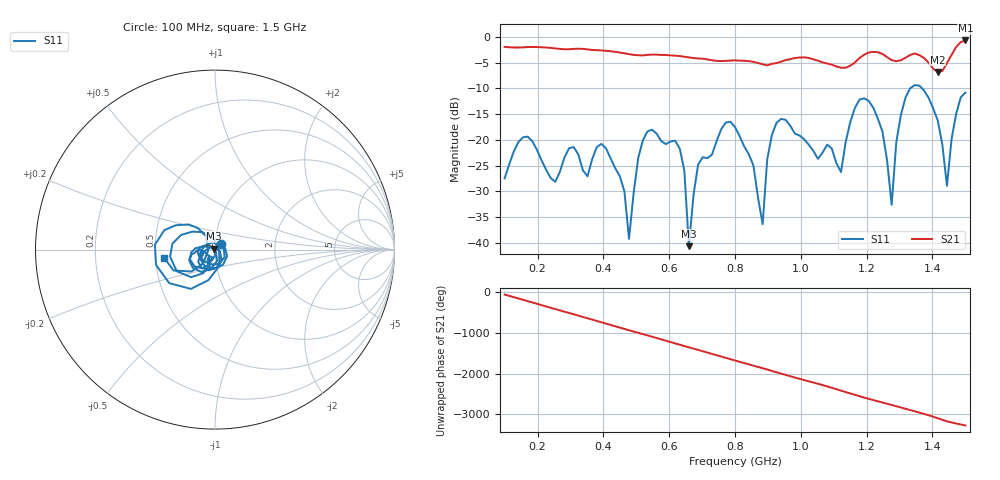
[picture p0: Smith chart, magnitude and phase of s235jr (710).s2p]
! NanoVNA-App
! Date: 2025-09-25 15:09:42
! Start: 100MHz Stop: 1,5GHz Points: 101
! S-Parameter data: F S11 S21 S12 S22
# Hz S RI R 50
!  Frequency  S11_Real  S11_Imag  S21_Real  S21_Imag  S12_Real  S12_Imag  S22_Real  S22_Imag
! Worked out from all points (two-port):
!   101 points, 100 MHz to 1.5 GHz, reference 50 ohm
!   highest |S21| = -0.72 dB at 1.5 GHz (marker M1); lowest = -6.8 dB at 1.416 GHz (marker M2)
!   |S21| within 3 dB of the highest: start of sweep to 627.2 MHz; 1.187 GHz to 1.257 GHz (69.54 MHz wide, 5.69 % of centre) (the widest 2 of 4)
!   lowest |S11| = -40.6 dB at 660 MHz (marker M3), VSWR 1.02, Z = 49.3 + j0.602 ohm
!   |S11| at or under -10 dB: start of sweep to 1.332 GHz; 1.368 GHz to end of sweep
!   S12 and S22 are empty: the file has one direction only
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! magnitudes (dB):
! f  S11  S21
! 100 MHz  -27.5  -2.0
! 170 MHz  -19.4  -2.0
! 338 MHz  -25.9  -2.3
! 408 MHz  -21.6  -2.7
! 478 MHz  -39.2  -3.4
! 520 MHz  -20.1  -3.6
! 576 MHz  -20.3  -3.5
! 632 MHz  -21.7  -3.7
! 660 MHz  -40.6  -4.0
! 688 MHz  -24.8  -4.2
! 800 MHz  -17.5  -4.6
! 884 MHz  -36.4  -5.3
! 926 MHz  -16.7  -5.1
! 1.038 GHz  -22.1  -4.4
! 1.122 GHz  -26.2  -6.0
! 1.206 GHz  -12.4  -3.1
! 1.276 GHz  -32.6  -4.5
! 1.29 GHz  -20.5  -4.7
! 1.332 GHz  -10.0  -3.5
! 1.416 GHz  -16.2  -6.8
! 1.444 GHz  -28.9  -5.1
! 1.5 GHz  -10.8  -0.7
